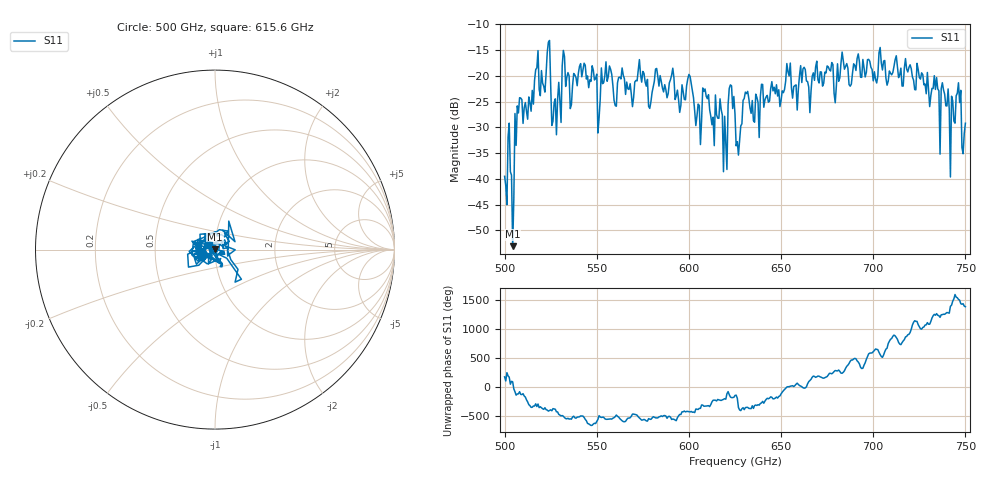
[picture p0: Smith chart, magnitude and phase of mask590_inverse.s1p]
!Created with skrf (http://scikit-rf.org).
# GHz S MA R 50.0
!freq magS11 angS11
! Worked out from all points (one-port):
!   401 points, 500 GHz to 750 GHz, reference 50 ohm
!   lowest |S11| = -53.1 dB at 504.4 GHz (marker M1), VSWR 1.00, Z = 50 + j0.221 ohm
!   |S11| at or under -10 dB: start of sweep to end of sweep
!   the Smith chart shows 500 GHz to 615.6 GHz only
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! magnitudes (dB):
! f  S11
! 500 GHz  -39.5
! 502.5 GHz  -29.2
! 504.4 GHz  -53.1
! 508.1 GHz  -24.2
! 523.8 GHz  -13.4
! 526.9 GHz  -25.2
! 531.2 GHz  -18.0
! 548.8 GHz  -20.8
! 550.6 GHz  -31.1
! 562.5 GHz  -20.2
! 574.4 GHz  -21.2
! 579.4 GHz  -25.1
! 590.6 GHz  -19.8
! 593.8 GHz  -22.8
! 600.6 GHz  -20.1
! 605 GHz  -25.5
! 608.8 GHz  -22.5
! 619.4 GHz  -27.8
! 623.1 GHz  -21.9
! 625 GHz  -27.5
! 626.9 GHz  -35.4
! 630.6 GHz  -23.2
! 656.2 GHz  -24.3
! 687.5 GHz  -22.0
! 718.8 GHz  -19.2
! 743.1 GHz  -24.8
! 746.2 GHz  -21.3
! 750 GHz  -29.2
